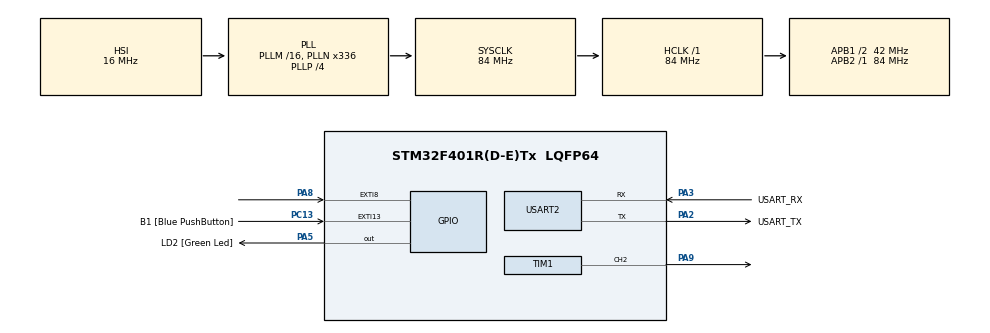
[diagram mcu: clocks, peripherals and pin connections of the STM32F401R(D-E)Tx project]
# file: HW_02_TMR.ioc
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Mcu.Family=STM32F4
Mcu.Name=STM32F401R(D-E)Tx
Mcu.Package=LQFP64
NVIC.EXTI9_5_IRQn=true\:0\:0\:false\:false\:true\:true\:true\:true
NVIC.PriorityGroup=NVIC_PRIORITYGROUP_0
NVIC.TIM1_UP_TIM10_IRQn=true\:0\:0\:false\:false\:true\:true\:true\:true
PA13.GPIO_Label=TMS
PA13.Mode=Serial_Wire
PA13.Signal=SYS_JTMS-SWDIO
PA14.GPIO_Label=TCK
PA14.Mode=Serial_Wire
PA14.Signal=SYS_JTCK-SWCLK
PA2.GPIO_Label=USART_TX
PA2.GPIO_Mode=GPIO_MODE_AF_PP
PA2.GPIO_PuPd=GPIO_NOPULL
PA2.GPIO_Speed=GPIO_SPEED_FREQ_LOW
PA2.Mode=Asynchronous
PA2.Signal=USART2_TX
PA3.GPIO_Label=USART_RX
PA3.GPIO_Mode=GPIO_MODE_AF_PP
PA3.GPIO_PuPd=GPIO_NOPULL
PA3.GPIO_Speed=GPIO_SPEED_FREQ_LOW
PA3.Mode=Asynchronous
PA3.Signal=USART2_RX
PA5.GPIO_Label=LD2 [Green Led]
PA5.GPIO_Mode=GPIO_MODE_OUTPUT_PP
PA5.GPIO_PuPd=GPIO_NOPULL
PA5.GPIO_Speed=GPIO_SPEED_FREQ_LOW
PA5.Signal=GPIO_Output
PA8.GPIO_ModeDefaultEXTI=GPIO_MODE_IT_RISING
PA8.Signal=GPXTI8
PA9.Signal=S_TIM1_CH2
PB3.GPIO_Label=SWO
PB3.Signal=SYS_JTDO-SWO
PC13-ANTI_TAMP.GPIO_Label=B1 [Blue PushButton]
PC13-ANTI_TAMP.GPIO_ModeDefaultEXTI=GPIO_MODE_IT_FALLING
PC13-ANTI_TAMP.GPIO_PuPd=GPIO_NOPULL
PC13-ANTI_TAMP.Signal=GPXTI13
PC14-OSC32_IN.Mode=LSE-External-Oscillator
PC14-OSC32_IN.Signal=RCC_OSC32_IN
PC15-OSC32_OUT.Mode=LSE-External-Oscillator
PC15-OSC32_OUT.Signal=RCC_OSC32_OUT
PH0\ -\ OSC_IN.Mode=HSE-External-Clock-Source
PH0\ -\ OSC_IN.Signal=RCC_OSC_IN
PH1\ -\ OSC_OUT.Mode=HSE-External-Clock-Source
PH1\ -\ OSC_OUT.Signal=RCC_OSC_OUT
ProjectManager.HeapSize=0x200
ProjectManager.StackSize=0x400
ProjectManager.TargetToolchain=STM32CubeIDE
RCC.48MHZClocksFreq_Value=48000000
RCC.AHBFreq_Value=84000000
RCC.APB1CLKDivider=RCC_HCLK_DIV2
RCC.APB1Freq_Value=42000000
RCC.APB1TimFreq_Value=84000000
RCC.APB2Freq_Value=84000000
RCC.APB2TimFreq_Value=84000000
RCC.CortexFreq_Value=84000000
RCC.HCLKFreq_Value=84000000
RCC.HSE_VALUE=8000000
RCC.HSI_VALUE=16000000
RCC.PLLN=336
RCC.PLLP=RCC_PLLP_DIV4
RCC.PLLQ=7
RCC.SYSCLKFreq_VALUE=84000000
RCC.SYSCLKSource=RCC_SYSCLKSOURCE_PLLCLK
RCC.VCOOutputFreq_Value=336000000
SH.S_TIM1_CH2.0=TIM1_CH2,PWM Generation2 CH2
TIM1.Channel-PWM\ Generation2\ CH2=TIM_CHANNEL_2
TIM1.Period=1910-1
TIM1.Prescaler=100-1
TIM1.Pulse-PWM\ Generation2\ CH2=955
TIM10.Period=10000-1
TIM10.Prescaler=8400-1
USART2.VirtualMode=VM_ASYNC
VP_TIM10_VS_ClockSourceINT.Mode=Enable_Timer
board=NUCLEO-F401RE

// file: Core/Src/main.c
/* USER CODE BEGIN Header */
/**
  ******************************************************************************
  * @file           : main.c
  * @brief          : Main program body
  ******************************************************************************
  * @attention
  *
  * Copyright (c) 2023 STMicroelectronics.
  * All rights reserved.
  *
  * This software is licensed under terms that can be found in the LICENSE file
  * in the root directory of this software component.
  * If no LICENSE file comes with this software, it is provided AS-IS.
  *
  ******************************************************************************
  */
/* USER CODE END Header */
#include "main.h"

/* USER CODE BEGIN PTD */
typedef struct{
	uint32_t tmr_period;
	uint16_t duration;
}note;
/* USER CODE END PTD */

/* USER CODE BEGIN PD */
#define DO4 3206
#define DOs4 3032
#define RE4 2857
#define REs4 2700
#define MI4 2545
#define FA4 2406
#define FAs4 2270
#define SOL4 2142
#define SOLs4 2024
#define LA4 1909
#define LAs4 1802
#define SI4 1700
#define SIs4 1612
/* USER CODE END PD */

TIM_HandleTypeDef htim1;
TIM_HandleTypeDef htim10;

UART_HandleTypeDef huart2;

/* USER CODE BEGIN PV */
//variable to keep track of how many notes have been played
uint8_t i = 0;
//flag to start the song when sound is detected
uint8_t start = 0;
//flag to know when the note duration has elapsed
uint8_t done = 1;

/* USER CODE END PV */

void SystemClock_Config(void);
static void MX_GPIO_Init(void);
static void MX_USART2_UART_Init(void);
static void MX_TIM1_Init(void);
static void MX_TIM10_Init(void);

/* USER CODE BEGIN 0 */
void play_note(note curr_note){
	__HAL_TIM_SET_AUTORELOAD(&htim1,curr_note.tmr_period);
	__HAL_TIM_SET_COMPARE(&htim1,TIM_CHANNEL_2,(curr_note.tmr_period)/2 );
	//the function set the value of the counter register. So we need to
	//subtract from the max value (10000-1) the value of the duration*10
	__HAL_TIM_SET_COUNTER(&htim10,10000-1-(curr_note.duration*10));
	HAL_TIM_Base_Start_IT(&htim10);
	HAL_TIM_PWM_Start(&htim1,TIM_CHANNEL_2);
	done = 0;
}

void play_song(note* LondonBridge){
	while(i<24){
		//only if flag done is 1 (timer has elapsed) and if start=1 then call the play_note function
		if(start && done){
			play_note(LondonBridge[i]);
			i++;
		}
	}
}

void HAL_GPIO_EXTI_Callback(uint16_t GPIO_Pin){
	if(GPIO_Pin == GPIO_PIN_8){
		start = 1;
	}
}

void HAL_TIM_PeriodElapsedCallback(TIM_HandleTypeDef *htim){
	if(htim == &htim10){
		//only when the timer has elapsed, stop the pwm and set the flag done to 1
		HAL_TIM_PWM_Stop(&htim1,TIM_CHANNEL_2);
		done = 1;
	}
}
/* USER CODE END 0 */

int main(void)
{
  /* USER CODE BEGIN 1 */
  note LondonBridge[24]={{SOL4,375},{LA4,125},{SOL4,250},{FA4,250},
	  	  	     	 	 {MI4,250},{FA4,250},{SOL4,500},
		                 {RE4,250},{MI4,250},{FA4,500},
		                 {MI4,250},{FA4,250},{SOL4,500},
		                 {SOL4,375},{LA4,125},{SOL4,250},{FA4,250},
		                 {MI4,250},{FA4,250},{SOL4,500},
		                 {RE4,500},{SOL4,500},
		                 {MI4,250},{DO4,750} };

  /* USER CODE END 1 */

  /* MCU Configuration--------------------------------------------------------*/

  /* Reset of all peripherals, Initializes the Flash interface and the Systick. */
  HAL_Init();

  /* Configure the system clock */
  SystemClock_Config();

  /* Initialize all configured peripherals */
  MX_GPIO_Init();
  MX_USART2_UART_Init();
  MX_TIM1_Init();
  MX_TIM10_Init();

  /* Infinite loop */
  /* USER CODE BEGIN WHILE */
  while (1)
  {
	play_song(LondonBridge);
	i=0;
	done=0;
	start = 0;
    /* USER CODE END WHILE */
  }
}

void SystemClock_Config(void)
{
  RCC_OscInitTypeDef RCC_OscInitStruct = {0};
  RCC_ClkInitTypeDef RCC_ClkInitStruct = {0};

  /** Configure the main internal regulator output voltage
  */
  __HAL_RCC_PWR_CLK_ENABLE();
  __HAL_PWR_VOLTAGESCALING_CONFIG(PWR_REGULATOR_VOLTAGE_SCALE2);

  /** Initializes the RCC Oscillators according to the specified parameters
  * in the RCC_OscInitTypeDef structure.
  */
  RCC_OscInitStruct.OscillatorType = RCC_OSCILLATORTYPE_HSI;
  RCC_OscInitStruct.HSIState = RCC_HSI_ON;
  RCC_OscInitStruct.HSICalibrationValue = RCC_HSICALIBRATION_DEFAULT;
  RCC_OscInitStruct.PLL.PLLState = RCC_PLL_ON;
  RCC_OscInitStruct.PLL.PLLSource = RCC_PLLSOURCE_HSI;
  RCC_OscInitStruct.PLL.PLLM = 16;
  RCC_OscInitStruct.PLL.PLLN = 336;
  RCC_OscInitStruct.PLL.PLLP = RCC_PLLP_DIV4;
  RCC_OscInitStruct.PLL.PLLQ = 7;
  if (HAL_RCC_OscConfig(&RCC_OscInitStruct) != HAL_OK)
  {
    Error_Handler();
  }

  /** Initializes the CPU, AHB and APB buses clocks
  */
  RCC_ClkInitStruct.ClockType = RCC_CLOCKTYPE_HCLK|RCC_CLOCKTYPE_SYSCLK
                              |RCC_CLOCKTYPE_PCLK1|RCC_CLOCKTYPE_PCLK2;
  RCC_ClkInitStruct.SYSCLKSource = RCC_SYSCLKSOURCE_PLLCLK;
  RCC_ClkInitStruct.AHBCLKDivider = RCC_SYSCLK_DIV1;
  RCC_ClkInitStruct.APB1CLKDivider = RCC_HCLK_DIV2;
  RCC_ClkInitStruct.APB2CLKDivider = RCC_HCLK_DIV1;

  if (HAL_RCC_ClockConfig(&RCC_ClkInitStruct, FLASH_LATENCY_2) != HAL_OK)
  {
    Error_Handler();
  }
}

static void MX_TIM1_Init(void)
{

  TIM_MasterConfigTypeDef sMasterConfig = {0};
  TIM_OC_InitTypeDef sConfigOC = {0};
  TIM_BreakDeadTimeConfigTypeDef sBreakDeadTimeConfig = {0};

  htim1.Instance = TIM1;
  htim1.Init.Prescaler = 100-1;
  htim1.Init.CounterMode = TIM_COUNTERMODE_UP;
  htim1.Init.Period = 1910-1;
  htim1.Init.ClockDivision = TIM_CLOCKDIVISION_DIV1;
  htim1.Init.RepetitionCounter = 0;
  htim1.Init.AutoReloadPreload = TIM_AUTORELOAD_PRELOAD_DISABLE;
  if (HAL_TIM_PWM_Init(&htim1) != HAL_OK)
  {
    Error_Handler();
  }
  sMasterConfig.MasterOutputTrigger = TIM_TRGO_RESET;
  sMasterConfig.MasterSlaveMode = TIM_MASTERSLAVEMODE_DISABLE;
  if (HAL_TIMEx_MasterConfigSynchronization(&htim1, &sMasterConfig) != HAL_OK)
  {
    Error_Handler();
  }
  sConfigOC.OCMode = TIM_OCMODE_PWM1;
  sConfigOC.Pulse = 955;
  sConfigOC.OCPolarity = TIM_OCPOLARITY_HIGH;
  sConfigOC.OCNPolarity = TIM_OCNPOLARITY_HIGH;
  sConfigOC.OCFastMode = TIM_OCFAST_DISABLE;
  sConfigOC.OCIdleState = TIM_OCIDLESTATE_RESET;
  sConfigOC.OCNIdleState = TIM_OCNIDLESTATE_RESET;
  if (HAL_TIM_PWM_ConfigChannel(&htim1, &sConfigOC, TIM_CHANNEL_2) != HAL_OK)
  {
    Error_Handler();
  }
  sBreakDeadTimeConfig.OffStateRunMode = TIM_OSSR_DISABLE;
  sBreakDeadTimeConfig.OffStateIDLEMode = TIM_OSSI_DISABLE;
  sBreakDeadTimeConfig.LockLevel = TIM_LOCKLEVEL_OFF;
  sBreakDeadTimeConfig.DeadTime = 0;
  sBreakDeadTimeConfig.BreakState = TIM_BREAK_DISABLE;
  sBreakDeadTimeConfig.BreakPolarity = TIM_BREAKPOLARITY_HIGH;
  sBreakDeadTimeConfig.AutomaticOutput = TIM_AUTOMATICOUTPUT_DISABLE;
  if (HAL_TIMEx_ConfigBreakDeadTime(&htim1, &sBreakDeadTimeConfig) != HAL_OK)
  {
    Error_Handler();
  }
  HAL_TIM_MspPostInit(&htim1);

}

static void MX_TIM10_Init(void)
{

  htim10.Instance = TIM10;
  htim10.Init.Prescaler = 8400-1;
  htim10.Init.CounterMode = TIM_COUNTERMODE_UP;
  htim10.Init.Period = 10000-1;
  htim10.Init.ClockDivision = TIM_CLOCKDIVISION_DIV1;
  htim10.Init.AutoReloadPreload = TIM_AUTORELOAD_PRELOAD_DISABLE;
  if (HAL_TIM_Base_Init(&htim10) != HAL_OK)
  {
    Error_Handler();
  }

}

static void MX_USART2_UART_Init(void)
{

  huart2.Instance = USART2;
  huart2.Init.BaudRate = 115200;
  huart2.Init.WordLength = UART_WORDLENGTH_8B;
  huart2.Init.StopBits = UART_STOPBITS_1;
  huart2.Init.Parity = UART_PARITY_NONE;
  huart2.Init.Mode = UART_MODE_TX_RX;
  huart2.Init.HwFlowCtl = UART_HWCONTROL_NONE;
  huart2.Init.OverSampling = UART_OVERSAMPLING_16;
  if (HAL_UART_Init(&huart2) != HAL_OK)
  {
    Error_Handler();
  }

}

static void MX_GPIO_Init(void)
{
  GPIO_InitTypeDef GPIO_InitStruct = {0};

  /* GPIO Ports Clock Enable */
  __HAL_RCC_GPIOC_CLK_ENABLE();
  __HAL_RCC_GPIOH_CLK_ENABLE();
  __HAL_RCC_GPIOA_CLK_ENABLE();
  __HAL_RCC_GPIOB_CLK_ENABLE();

  /*Configure GPIO pin Output Level */
  HAL_GPIO_WritePin(LD2_GPIO_Port, LD2_Pin, GPIO_PIN_RESET);

  /*Configure GPIO pin : B1_Pin */
  GPIO_InitStruct.Pin = B1_Pin;
  GPIO_InitStruct.Mode = GPIO_MODE_IT_FALLING;
  GPIO_InitStruct.Pull = GPIO_NOPULL;
  HAL_GPIO_Init(B1_GPIO_Port, &GPIO_InitStruct);

  /*Configure GPIO pin : LD2_Pin */
  GPIO_InitStruct.Pin = LD2_Pin;
  GPIO_InitStruct.Mode = GPIO_MODE_OUTPUT_PP;
  GPIO_InitStruct.Pull = GPIO_NOPULL;
  GPIO_InitStruct.Speed = GPIO_SPEED_FREQ_LOW;
  HAL_GPIO_Init(LD2_GPIO_Port, &GPIO_InitStruct);

  /*Configure GPIO pin : PA8 */
  GPIO_InitStruct.Pin = GPIO_PIN_8;
  GPIO_InitStruct.Mode = GPIO_MODE_IT_RISING;
  GPIO_InitStruct.Pull = GPIO_NOPULL;
  HAL_GPIO_Init(GPIOA, &GPIO_InitStruct);

  /* EXTI interrupt init*/
  HAL_NVIC_SetPriority(EXTI9_5_IRQn, 0, 0);
  HAL_NVIC_EnableIRQ(EXTI9_5_IRQn);

}

void Error_Handler(void)
{
  __disable_irq();
  while (1)
  {
  }
}
